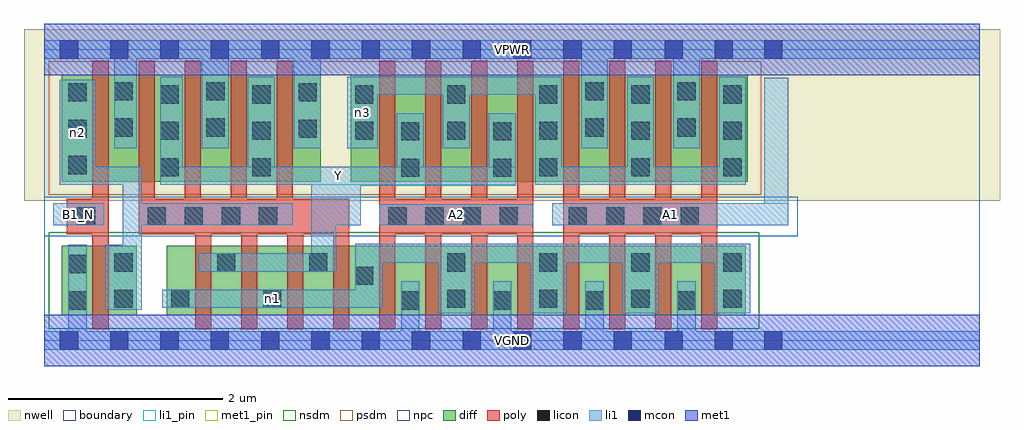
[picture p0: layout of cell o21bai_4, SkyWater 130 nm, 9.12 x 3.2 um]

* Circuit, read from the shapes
.subckt o21bai_4 A1 A2 B1_N VGND VPWR Y n1 n2 n3
XM1 n2 B1_N VGND VSUBS sky130_fd_pr__nfet_01v8 w=0.65 l=0.15
XM2 Y n2 n1 VSUBS sky130_fd_pr__nfet_01v8 w=0.65 l=0.15 m=4
XM3 VGND A2 n1 VSUBS sky130_fd_pr__nfet_01v8 w=0.65 l=0.15 m=4
XM4 VGND A1 n1 VSUBS sky130_fd_pr__nfet_01v8 w=0.65 l=0.15 m=4
XM5 VPWR B1_N n2 n4 sky130_fd_pr__pfet_01v8 w=1 l=0.15
XM6 Y n2 VPWR n4 sky130_fd_pr__pfet_01v8 w=1 l=0.15 m=4
XM7 Y A2 n3 n4 sky130_fd_pr__pfet_01v8 w=1 l=0.15 m=4
XM8 VPWR A1 n3 n4 sky130_fd_pr__pfet_01v8 w=1 l=0.15 m=4
.ends

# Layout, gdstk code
import gdstk
lib = gdstk.Library(unit=1e-6, precision=1e-09)
def R(c, l, rs):  # rectangles x0, y0, x1, y1
    for r in rs: c.add(gdstk.rectangle(r[:2], r[2:], *l))
def A(c, l, x, y, w, h, nx, ny, dx, dy):  # array of equal rectangles
    R(c, l, [(x+i*dx, y+j*dy, x+i*dx+w, y+j*dy+h) for i in range(nx) for j in range(ny)])
nwell = (64, 20)
diff = (65, 20)
poly = (66, 20)
licon = (66, 44)
li1_pin = (67, 16)
li1 = (67, 20)
mcon = (67, 44)
met1_pin = (68, 16)
met1 = (68, 20)
nsdm = (93, 44)
psdm = (94, 20)
npc = (95, 20)
boundary = (235, 4)

o21bai_4 = lib.new_cell('o21bai_4')
R(o21bai_4, nwell, [(-0.19,1.305,8.93,2.91), (0,1.305,8.74,2.91)])
R(o21bai_4, diff, [(0.165,0.235,0.865,0.885), (1.145,0.235,6.555,0.885), (0.165,1.485,2.585,2.485), (2.865,1.485,6.575,2.485)])
A(o21bai_4, poly, 1.41, 0.105, 0.15, 1.22, 4, 1, 0.43, 0)
A(o21bai_4, poly, 3.13, 0.105, 0.15, 2.51, 8, 1, 0.43, 0)
A(o21bai_4, poly, 0.88, 0.995, 0.15, 1.62, 4, 1, 0.43, 0)
R(o21bai_4, poly, [(0.45,0.105,0.6,2.615), (0.21,0.995,0.6,1.325), (0.88,0.995,2.85,1.325), (3.13,0.995,4.57,1.325), (4.85,0.995,6.29,1.325)])
A(o21bai_4, licon, 3.335, 0.29, 0.17, 0.17, 4, 1, 0.86, 0)
A(o21bai_4, licon, 3.765, 0.305, 0.17, 0.17, 4, 2, 0.86, 0.34)
A(o21bai_4, licon, 1.085, 1.535, 0.17, 0.17, 1, 3, 0, 0.34)
A(o21bai_4, licon, 1.945, 1.535, 0.17, 0.17, 1, 3, 0, 0.34)
A(o21bai_4, licon, 4.625, 1.535, 0.17, 0.17, 3, 1, 0.86, 0)
A(o21bai_4, licon, 0.225, 1.555, 0.17, 0.17, 1, 3, 0, 0.34)
A(o21bai_4, licon, 2.905, 1.875, 0.17, 0.17, 5, 2, 0.86, 0.34)
R(o21bai_4, licon, [(0.225,0.29,0.395,0.46), (0.655,0.305,0.825,0.475), (1.185,0.305,1.355,0.475), (2.045,0.305,2.215,0.475), (2.905,0.52,3.075,0.69), (0.225,0.63,0.395,0.8), (0.655,0.645,0.825,0.815), (1.615,0.645,1.785,0.815), (2.475,0.645,2.645,0.815), (0.305,1.075,0.475,1.245), (0.965,1.075,1.135,1.245), (1.31,1.075,1.48,1.245), (1.66,1.075,1.83,1.245), (2.005,1.075,2.175,1.245), (3.215,1.075,3.385,1.245), (3.56,1.075,3.73,1.245), (3.91,1.075,4.08,1.245), (4.255,1.075,4.425,1.245), (4.9,1.075,5.07,1.245), (5.25,1.075,5.42,1.245), (5.595,1.075,5.765,1.245), (5.945,1.075,6.115,1.245), (3.335,1.53,3.505,1.7), (4.195,1.53,4.365,1.7), (3.335,1.87,3.505,2.04), (4.195,1.87,4.365,2.04), (2.375,1.895,2.545,2.065), (0.655,1.905,0.825,2.075), (1.515,1.905,1.685,2.075), (5.055,1.905,5.225,2.075), (5.915,1.905,6.085,2.075), (2.375,2.235,2.545,2.405), (0.655,2.245,0.825,2.415), (1.515,2.245,1.685,2.415), (5.055,2.245,5.225,2.415), (5.915,2.245,6.085,2.415)])
R(o21bai_4, li1_pin, [(0.085,1.075,0.56,1.285), (3.13,1.075,4.57,1.275), (4.745,1.075,6.95,1.285), (1.085,1.455,4.405,1.625)])
A(o21bai_4, li1, 3.335, -0.085, 0.17, 0.64, 4, 1, 0.86, 0)
A(o21bai_4, li1, 3.68, 0.255, 0.34, 0.65, 3, 1, 0.86, 0)
A(o21bai_4, li1, 4.585, 1.455, 0.25, 1.01, 3, 1, 0.86, 0)
R(o21bai_4, li1, [(0,-0.085,8.74,0.085), (0.225,-0.085,0.395,0.895), (6.26,0.255,6.595,0.905), (0.57,0.29,0.91,0.895), (0.735,0.29,0.91,1.625), (1.1,0.305,3.16,0.475), (2.905,0.305,3.16,0.905), (1.445,0.645,2.73,0.815), (2.495,0.645,2.73,1.625), (2.905,0.725,6.595,0.905), (0.085,1.075,0.56,1.285), (0.735,1.075,2.32,1.285), (2.495,1.075,2.955,1.625), (3.13,1.075,4.57,1.275), (4.745,1.075,6.95,1.285), (6.725,1.075,6.95,2.455), (2.495,1.445,4.405,1.625), (3.295,1.445,3.545,2.125), (4.155,1.445,4.405,2.125), (0.145,1.455,0.48,2.435), (0.145,1.455,0.91,1.625), (1.085,1.455,4.405,1.625), (1.085,1.455,1.295,2.465), (1.9,1.455,2.155,2.465), (4.585,1.455,6.555,1.625), (0.655,1.795,0.865,2.805), (1.47,1.795,1.725,2.805), (2.33,1.795,2.585,2.805), (2.83,1.795,3.115,2.465), (3.725,1.795,3.975,2.465), (5.015,1.795,5.265,2.805), (5.875,1.795,6.125,2.805), (2.83,2.295,4.835,2.465), (0,2.635,8.74,2.805)])
A(o21bai_4, mcon, 0.145, -0.085, 0.17, 0.17, 8, 2, 0.47, 2.72)
A(o21bai_4, mcon, 3.91, -0.085, 0.17, 0.17, 4, 2, 0.47, 2.72)
R(o21bai_4, mcon, [(5.795,-0.085,5.965,0.085), (6.265,-0.085,6.435,0.085), (6.725,-0.085,6.895,0.085), (5.795,2.635,5.965,2.805), (6.265,2.635,6.435,2.805), (6.725,2.635,6.895,2.805)])
R(o21bai_4, met1_pin, [(0,-0.24,8.74,0.24), (0,2.48,8.74,2.96)])
R(o21bai_4, met1, [(0,-0.24,8.74,0.24), (0,2.48,8.74,2.96)])
R(o21bai_4, nsdm, [(0.04,0.11,6.68,1.01)])
R(o21bai_4, psdm, [(0.04,1.36,6.7,2.61)])
R(o21bai_4, npc, [(0,0.975,7.04,1.345)])
R(o21bai_4, boundary, [(0,0,8.74,2.72)])
o21bai_4.add(gdstk.Label('A1', (5.847,1.18), layer=67, texttype=5))
o21bai_4.add(gdstk.Label('A2', (3.85,1.175), layer=67, texttype=5))
o21bai_4.add(gdstk.Label('B1_N', (0.322,1.18), layer=67, texttype=5))
o21bai_4.add(gdstk.Label('Y', (2.745,1.54), layer=67, texttype=5))
o21bai_4.add(gdstk.Label('n1', (2.13,0.39), layer=67, texttype=5))
o21bai_4.add(gdstk.Label('n2', (0.312,1.945), layer=67, texttype=5))
o21bai_4.add(gdstk.Label('n3', (2.972,2.13), layer=67, texttype=5))
o21bai_4.add(gdstk.Label('VPWR', (4.37,2.72), layer=68, texttype=5))
o21bai_4.add(gdstk.Label('VGND', (4.37,0), layer=68, texttype=5))
o21bai_4.add(gdstk.Label('A1', (5.847,1.18), layer=67, texttype=16))
o21bai_4.add(gdstk.Label('A2', (3.85,1.175), layer=67, texttype=16))
o21bai_4.add(gdstk.Label('B1_N', (0.322,1.18), layer=67, texttype=16))
o21bai_4.add(gdstk.Label('Y', (2.745,1.54), layer=67, texttype=16))
o21bai_4.add(gdstk.Label('VPWR', (4.37,2.72), layer=68, texttype=16))
o21bai_4.add(gdstk.Label('VGND', (4.37,0), layer=68, texttype=16))

lib.write_gds('o21bai_4.gds')
